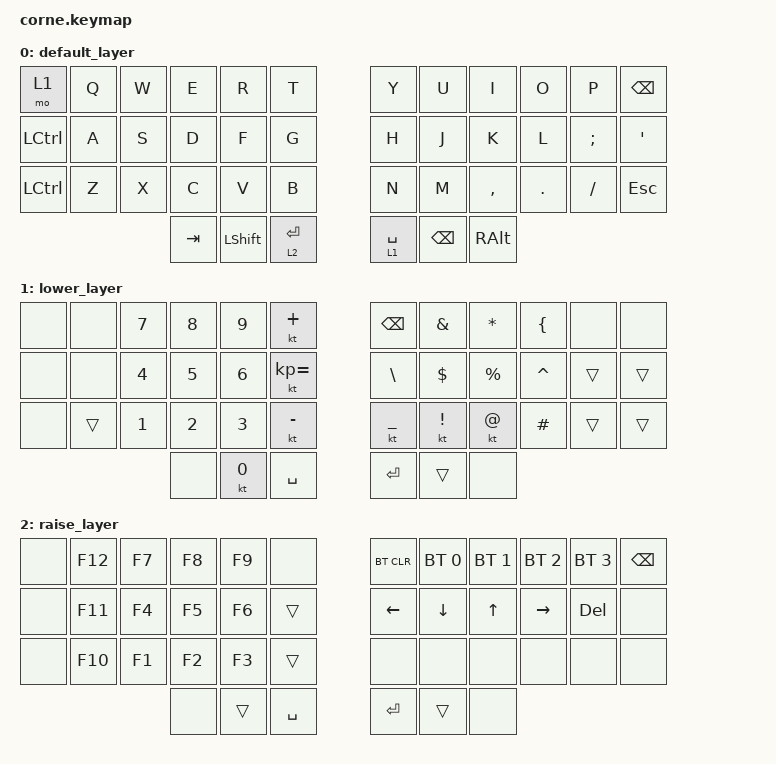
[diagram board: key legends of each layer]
/*
 * Copyright (c) 2020 The ZMK Contributors
 *
 * SPDX-License-Identifier: MIT
 */

#include <behaviors.dtsi>
#include <dt-bindings/zmk/bt.h>
#include <dt-bindings/zmk/keys.h>
#include <dt-bindings/zmk/keys.h>

/ {
    combos {
        compatible = "zmk,combos";

        escape {
            bindings = <&kp ESCAPE>;
            key-positions = <19 20>;
        };

        leftparenteses {
            bindings = <&kp LEFT_PARENTHESIS>;
            key-positions = <16 17>;
        };

        leftanglebracket {
            bindings = <&kp LEFT_BRACKET>;
            key-positions = <28 29>;
        };

        leftcurlybracket {
            bindings = <&kp LEFT_BRACE>;
            key-positions = <1 2>;
        };

        rightcurlybrace {
            bindings = <&kp RIGHT_BRACE>;
            key-positions = <6 7>;
        };

        leftnormalbrace {
            bindings = <&kp RIGHT_PARENTHESIS>;
            key-positions = <18 19>;
        };

        rightanglebracket {
            bindings = <&kp RIGHT_BRACKET>;
            key-positions = <30 31>;
        };

        arow {
            bindings = <&kp EQUAL>;
            key-positions = <37 38>;
        };
    };

    keymap {
        compatible = "zmk,keymap";

        default_layer {
            // -----------------------------------------------------------------------------------------
            // |  TAB |  Q  |  W  |  E  |  R  |  T  |   |  Y  |  U   |  I  |  O  |  P  | BSPC |
            // | CTRL |  A  |  S  |  D  |  F  |  G  |   |  H  |  J   |  K  |  L  |  ;  |  '   |
            // | SHFT |  Z  |  X  |  C  |  V  |  B  |   |  N  |  M   |  ,  |  .  |  /  | ESC  |
            //                    | GUI | LWR | SPC |   | ENT | RSE  | ALT |

            bindings = <
&mo 1      &kp Q  &kp W  &kp E    &kp R           &kp T          &kp Y        &kp U          &kp I      &kp O    &kp P     &kp BSPC
&kp LCTRL  &kp A  &kp S  &kp D    &kp F           &kp G          &kp H        &kp J          &kp K      &kp L    &kp SEMI  &kp SQT
&kp LCTRL  &kp Z  &kp X  &kp C    &kp V           &kp B          &kp N        &kp M          &kp COMMA  &kp DOT  &kp FSLH  &kp ESC
                         &kp TAB  &kp LEFT_SHIFT  &lt 2 ENTER    &lt 1 SPACE  &kp BACKSPACE  &kp RALT
            >;
        };

        lower_layer {
            // -----------------------------------------------------------------------------------------
            // |  TAB |  1  |  2  |  3  |  4  |  5  |   |  6  |  7  |  8  |  9  |  0  | BSPC |
            // | BTCLR| BT1 | BT2 | BT3 | BT4 | BT5 |   | LFT | DWN |  UP | RGT |     |      |
            // | SHFT |     |     |     |     |     |   |     |     |     |     |     |      |
            //                    | GUI |     | SPC |   | ENT |     | ALT |

            bindings = <
&none  &none   &kp N7        &kp N8        &kp N9        &kt PLUS        &kp BACKSPACE  &kp AMPERSAND  &kp STAR     &kp LEFT_BRACE  &none   &none
&none  &none   &kp NUMBER_4  &kp NUMBER_5  &kp NUMBER_6  &kt KP_EQUAL    &kp BACKSLASH  &kp DOLLAR     &kp PERCENT  &kp CARET       &trans  &trans
&none  &trans  &kp NUMBER_1  &kp NUMBER_2  &kp NUMBER_3  &kt MINUS       &kt UNDER      &kt EXCL       &kt AT       &kp HASH        &trans  &trans
                             &none         &kt N0        &kp SPACE       &kp RET        &trans         &none
            >;
        };

        raise_layer {
            // -----------------------------------------------------------------------------------------
            // |  TAB |  !  |  @  |  #  |  $  |  %  |   |  ^  |  &  |  *  |  (  |  )  | BSPC |
            // | CTRL |     |     |     |     |     |   |  -  |  =  |  [  |  ]  |  \  |  `   |
            // | SHFT |     |     |     |     |     |   |  _  |  +  |  {  |  }  | "|" |  ~   |
            //                    | GUI |     | SPC |   | ENT |     | ALT |

            bindings = <
&none  &kp F12  &kp F7  &kp F8  &kp F9  &none        &bt BT_CLR      &bt BT_SEL 0    &bt BT_SEL 1  &bt BT_SEL 2  &bt BT_SEL 3  &kp BSPC
&none  &kp F11  &kp F4  &kp F5  &kp F6  &trans       &kp LEFT_ARROW  &kp DOWN_ARROW  &kp UP_ARROW  &kp RIGHT     &kp DELETE    &none
&none  &kp F10  &kp F1  &kp F2  &kp F3  &trans       &none           &none           &none         &none         &none         &none
                        &none   &trans  &kp SPACE    &kp RET         &trans          &none
            >;
        };
    };
};
